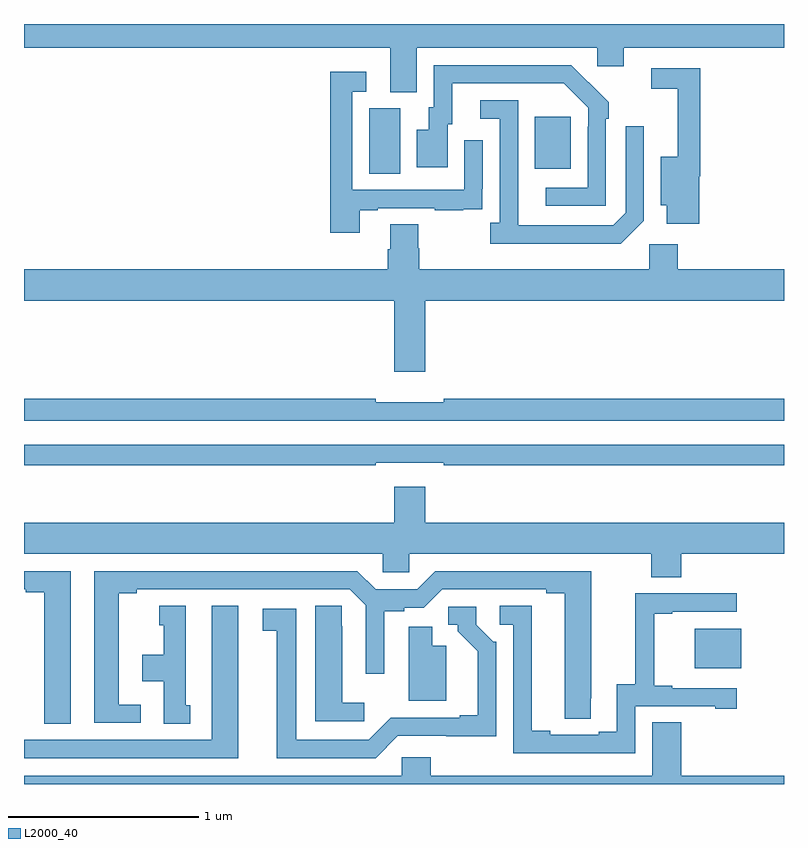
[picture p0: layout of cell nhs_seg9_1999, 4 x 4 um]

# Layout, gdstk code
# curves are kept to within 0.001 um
import gdstk
lib = gdstk.Library(unit=1e-6, precision=1e-09)
def R(c, l, rs):  # rectangles x0, y0, x1, y1
    for r in rs: c.add(gdstk.rectangle(r[:2], r[2:], *l))
def P(c, l, *ps):  # polygons
    for p in ps: c.add(gdstk.Polygon(p, *l))
L2000_40 = (2000, 40)

nhs_seg9_1999 = lib.new_cell('nhs_seg9_1999')
R(nhs_seg9_1999, L2000_40, [(226.529,1237.109,226.774,1237.318), (224.816,1239.712,224.98,1240.056), (225.689,1239.737,225.877,1240.012)])
P(nhs_seg9_1999, L2000_40, [(225.067,1240.376),(226.017,1240.376),(226.017,1240.278),(226.156,1240.278),(226.156,1240.376),(227,1240.376),(227,1240.5),(223,1240.5),(223,1240.376),(224.927,1240.376),(224.927,1240.141),(225.067,1240.141)],
  [(226.062,1240.001),(226.077,1240.001),(226.077,1240.089),(225.88,1240.284),(225.156,1240.284),(225.156,1240.062),(225.131,1240.062),(225.131,1239.943),(225.068,1239.943),(225.068,1239.747),(225.229,1239.747),(225.229,1239.972),(225.253,1239.972),(225.253,1240.188),(225.841,1240.188),(225.969,1240.059),(225.969,1239.959),(225.966,1239.959),(225.966,1239.639),(225.747,1239.639),(225.747,1239.543),(226.062,1239.543)],
  [(226.553,1239.698),(226.559,1239.698),(226.559,1240.266),(226.302,1240.266),(226.302,1240.158),(226.442,1240.158),(226.442,1239.802),(226.352,1239.802),(226.352,1239.545),(226.382,1239.545),(226.382,1239.45),(226.553,1239.45)],
  [(224.767,1239.519),(224.863,1239.519),(224.863,1239.531),(225.163,1239.531),(225.163,1239.519),(225.311,1239.519),(225.311,1239.525),(225.413,1239.525),(225.413,1239.634),(225.414,1239.634),(225.414,1239.889),(225.318,1239.889),(225.318,1239.627),(224.727,1239.627),(224.727,1240.143),(224.8,1240.143),(224.8,1240.249),(224.611,1240.249),(224.611,1239.402),(224.767,1239.402)],
  [(226.263,1239.465),(226.263,1239.961),(226.167,1239.961),(226.167,1239.507),(226.101,1239.441),(225.601,1239.441),(225.6,1240.098),(225.402,1240.098),(225.402,1240.002),(225.504,1240.002),(225.504,1239.454),(225.453,1239.454),(225.453,1239.344),(226.142,1239.344)],
  [(225.112,1239.044),(227,1239.044),(227,1239.208),(226.442,1239.208),(226.442,1239.34),(226.29,1239.34),(226.29,1239.208),(225.08,1239.208),(225.08,1239.321),(225.075,1239.321),(225.075,1239.446),(224.927,1239.446),(224.927,1239.314),(224.915,1239.314),(224.915,1239.208),(223,1239.208),(223,1239.044),(224.948,1239.044),(224.948,1238.67),(225.112,1238.67)],
  [(227,1238.528),(225.208,1238.528),(225.208,1238.509),(224.852,1238.509),(224.852,1238.528),(223,1238.528),(223,1238.412),(227,1238.412)],
  [(224.852,1238.19),(225.208,1238.19),(225.208,1238.178),(227,1238.178),(227,1238.286),(223,1238.286),(223,1238.178),(224.852,1238.178)],
  [(226.46,1237.712),(227,1237.712),(227,1237.876),(225.112,1237.876),(225.112,1238.065),(224.948,1238.065),(224.948,1237.876),(223,1237.876),(223,1237.712),(224.889,1237.712),(224.889,1237.614),(225.027,1237.614),(225.027,1237.712),(226.3,1237.712),(226.3,1237.588),(226.46,1237.588)],
  [(223.246,1237.62),(223,1237.62),(223,1237.524),(223.01,1237.524),(223.01,1237.509),(223.106,1237.509),(223.106,1236.817),(223.246,1236.817)],
  [(223.615,1236.918),(223.498,1236.918),(223.498,1237.504),(223.594,1237.504),(223.594,1237.524),(224.715,1237.524),(224.799,1237.44),(224.799,1237.08),(224.896,1237.08),(224.896,1237.408),(225,1237.408),(225,1237.428),(225.105,1237.428),(225.201,1237.524),(225.749,1237.524),(225.749,1237.504),(225.845,1237.504),(225.845,1236.844),(225.984,1236.844),(225.985,1237.62),(225.165,1237.62),(225.069,1237.524),(224.851,1237.524),(224.755,1237.62),(223.37,1237.62),(223.37,1236.822),(223.615,1236.822)],
  [(226.218,1236.909),(226.637,1236.909),(226.637,1236.897),(226.75,1236.897),(226.75,1237.005),(226.411,1237.005),(226.411,1237.018),(226.316,1237.018),(226.316,1237.395),(226.411,1237.395),(226.411,1237.407),(226.75,1237.407),(226.75,1237.503),(226.216,1237.503),(226.216,1237.025),(226.121,1237.025),(226.121,1236.774),(226.025,1236.774),(226.025,1236.759),(225.769,1236.759),(225.769,1236.779),(225.673,1236.779),(225.673,1237.439),(225.504,1237.439),(225.504,1237.338),(225.576,1237.338),(225.576,1236.663),(226.218,1236.663)],
  [(224.791,1236.928),(224.674,1236.928),(224.674,1237.331),(224.673,1237.331),(224.673,1237.439),(224.534,1237.439),(224.534,1236.831),(224.791,1236.831)],
  [(224.128,1237.438),(223.988,1237.438),(223.988,1236.732),(223,1236.732),(223,1236.636),(224.128,1236.636)],
  [(223.876,1236.915),(223.852,1236.915),(223.852,1237.438),(223.712,1237.438),(223.712,1237.335),(223.736,1237.335),(223.736,1237.18),(223.622,1237.18),(223.622,1237.04),(223.736,1237.04),(223.736,1236.817),(223.876,1236.817)],
  [(224.967,1236.753),(225.486,1236.752),(225.486,1237.248),(225.471,1237.248),(225.381,1237.338),(225.381,1237.434),(225.234,1237.434),(225.234,1237.338),(225.284,1237.338),(225.284,1237.303),(225.389,1237.198),(225.389,1236.862),(225.293,1236.862),(225.293,1236.849),(224.931,1236.849),(224.814,1236.732),(224.434,1236.732),(224.434,1237.422),(224.256,1237.422),(224.256,1237.306),(224.33,1237.306),(224.33,1236.636),(224.85,1236.636)],
  [(225.223,1237.228),(225.148,1237.228),(225.148,1237.327),(225.026,1237.327),(225.026,1236.938),(225.223,1236.938)],
  [(227,1236.544),(226.46,1236.544),(226.46,1236.824),(226.307,1236.824),(226.307,1236.544),(225.14,1236.544),(225.14,1236.642),(224.988,1236.642),(224.988,1236.544),(223,1236.544),(223,1236.5),(227,1236.5)])

lib.write_gds('nhs_seg9_1999.gds')
